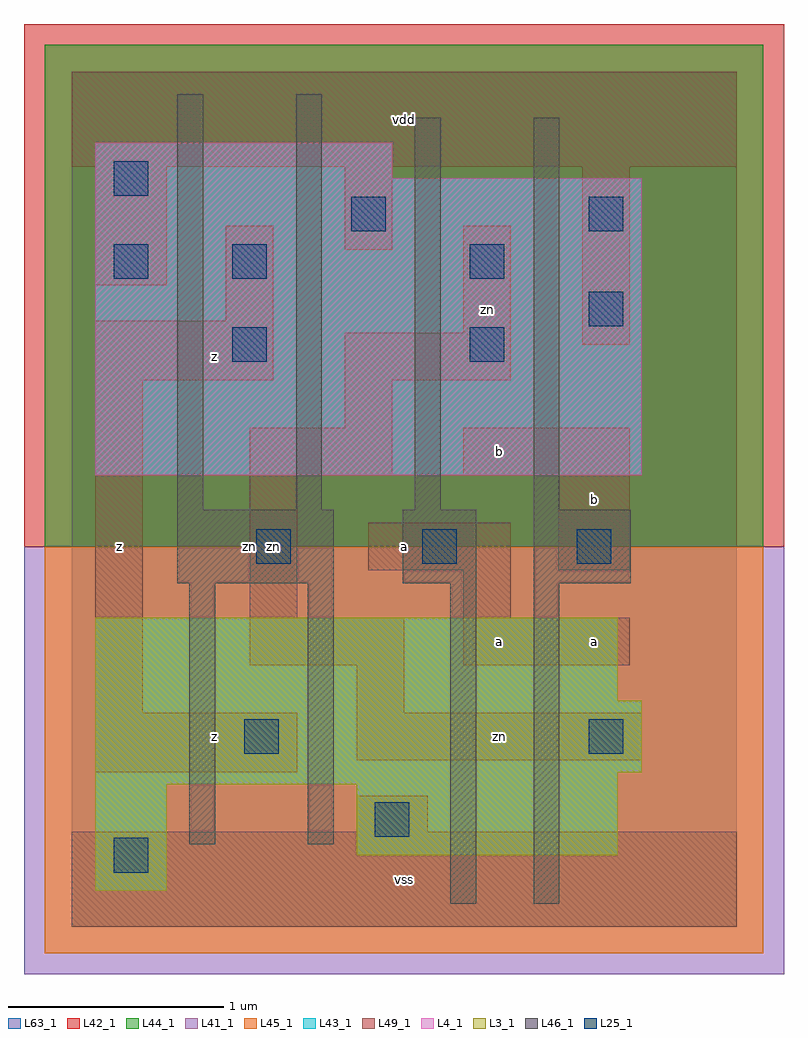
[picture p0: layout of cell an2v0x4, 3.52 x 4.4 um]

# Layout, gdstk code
import gdstk
lib = gdstk.Library(unit=1e-6, precision=1e-09)
def R(c, l, rs):  # rectangles x0, y0, x1, y1
    for r in rs: c.add(gdstk.rectangle(r[:2], r[2:], *l))
L3_1 = (3, 1)
L4_1 = (4, 1)
L25_1 = (25, 1)
L41_1 = (41, 1)
L42_1 = (42, 1)
L43_1 = (43, 1)
L44_1 = (44, 1)
L45_1 = (45, 1)
L46_1 = (46, 1)
L49_1 = (49, 1)
L63_1 = (63, 1)

an2v0x4 = lib.new_cell('an2v0x4')
R(an2v0x4, L3_1, [(0.11,0.165,0.44,0.66), (1.32,0.33,2.53,0.66), (0.11,0.66,2.53,0.715), (0.11,0.715,2.64,1.045), (0.11,1.045,2.53,1.43)])
R(an2v0x4, L4_1, [(0.11,2.09,2.64,3.465), (0.11,3.465,1.485,3.63)])
R(an2v0x4, L25_1, [(0.195,0.25,0.355,0.41), (1.405,0.415,1.565,0.575), (0.8,0.8,0.96,0.96), (2.395,0.8,2.555,0.96), (0.855,1.68,1.015,1.84), (1.625,1.68,1.785,1.84), (2.34,1.68,2.5,1.84), (0.745,2.615,0.905,2.775), (1.845,2.615,2.005,2.775), (2.395,2.78,2.555,2.94), (0.195,3,0.355,3.16), (0.745,3,0.905,3.16), (1.845,3,2.005,3.16), (1.295,3.22,1.455,3.38), (2.395,3.22,2.555,3.38), (0.195,3.385,0.355,3.545)])
R(an2v0x4, L41_1, [(-0.22,-0.22,3.3,1.76)])
R(an2v0x4, L42_1, [(-0.22,1.76,3.3,4.18)])
R(an2v0x4, L43_1, [(0.11,0.165,0.44,0.66), (1.32,0.33,2.53,0.66), (0.11,0.66,2.53,0.715), (0.11,0.715,2.64,1.045), (0.11,1.045,2.53,1.43), (0.11,2.09,2.64,3.465), (0.11,3.465,1.485,3.63)])
R(an2v0x4, L44_1, [(-0.125,1.76,3.205,4.085)])
R(an2v0x4, L45_1, [(-0.125,-0.125,3.205,1.76)])
R(an2v0x4, L46_1, [(1.755,0.105,1.875,1.59), (2.14,0.105,2.26,1.59), (0.545,0.38,0.665,1.59), (1.095,0.38,1.215,1.59), (0.49,1.59,1.215,1.93), (1.535,1.59,1.875,1.93), (2.14,1.59,2.59,1.93), (0.49,1.93,0.61,3.855), (1.04,1.93,1.16,3.855), (1.59,1.93,1.71,3.745), (2.14,1.93,2.26,3.745)])
R(an2v0x4, L49_1, [(0,0,3.08,0.44), (1.32,0.44,1.65,0.605), (0.11,0.715,1.045,0.99), (1.32,0.77,2.64,0.99), (0.11,0.99,0.33,2.53), (1.32,0.99,1.54,1.21), (0.825,1.21,1.54,1.43), (1.815,1.21,2.585,1.43), (0.825,1.43,1.045,2.09), (1.815,1.43,2.035,1.65), (1.375,1.65,2.035,1.87), (2.255,1.65,2.585,2.09), (0.825,2.09,1.485,2.31), (1.815,2.09,2.585,2.31), (1.265,2.31,1.485,2.53), (0.11,2.53,0.935,2.805), (1.265,2.53,2.035,2.75), (2.365,2.695,2.585,3.52), (1.815,2.75,2.035,3.245), (0.715,2.805,0.935,3.245), (0.11,2.97,0.44,3.52), (1.265,3.135,1.485,3.52), (0,3.52,3.08,3.96)])
R(an2v0x4, L63_1, [(0,0,3.08,3.96)])
an2v0x4.add(gdstk.Label('zn', (0.825,1.76), layer=46, texttype=1))
an2v0x4.add(gdstk.Label('z', (0.22,1.76), layer=49, texttype=1))
an2v0x4.add(gdstk.Label('z', (0.66,0.88), layer=49, texttype=1))
an2v0x4.add(gdstk.Label('zn', (0.935,1.76), layer=49, texttype=1))
an2v0x4.add(gdstk.Label('z', (0.66,2.64), layer=49, texttype=1))
an2v0x4.add(gdstk.Label('vss', (1.54,0.22), layer=49, texttype=1))
an2v0x4.add(gdstk.Label('a', (1.54,1.76), layer=49, texttype=1))
an2v0x4.add(gdstk.Label('a', (1.98,1.32), layer=49, texttype=1))
an2v0x4.add(gdstk.Label('b', (1.98,2.2), layer=49, texttype=1))
an2v0x4.add(gdstk.Label('zn', (1.925,2.86), layer=49, texttype=1))
an2v0x4.add(gdstk.Label('vdd', (1.54,3.74), layer=49, texttype=1))
an2v0x4.add(gdstk.Label('zn', (1.98,0.88), layer=49, texttype=1))
an2v0x4.add(gdstk.Label('a', (2.42,1.32), layer=49, texttype=1))
an2v0x4.add(gdstk.Label('b', (2.42,1.98), layer=49, texttype=1))

lib.write_gds('an2v0x4.gds')
